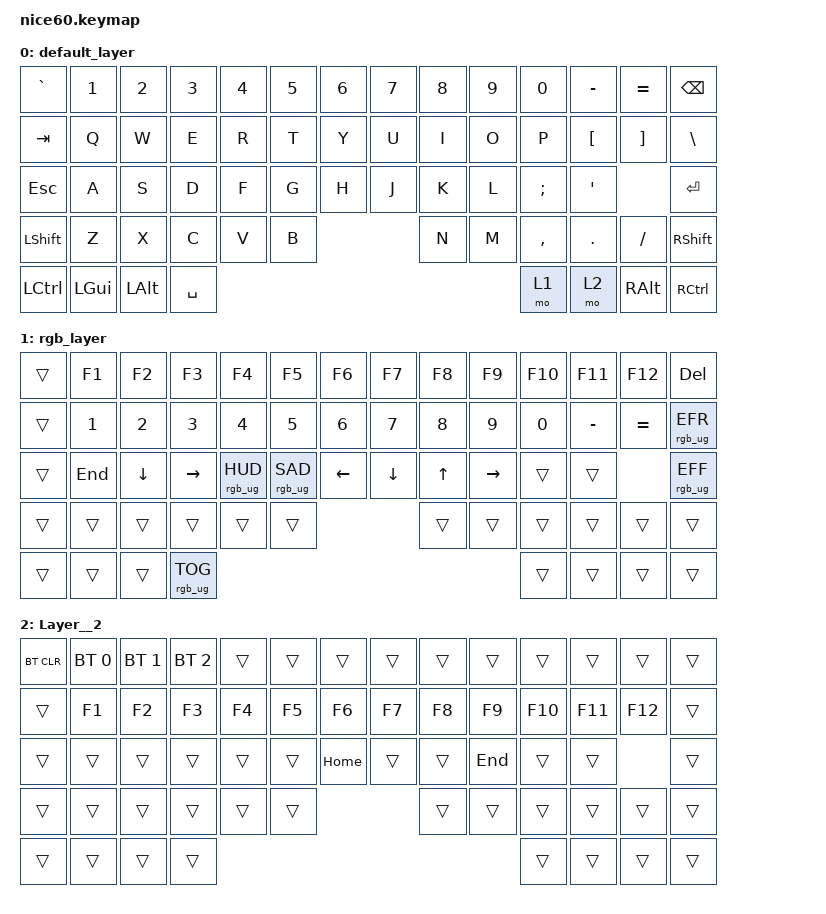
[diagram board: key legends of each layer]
/*
 * Copyright (c) 2021 Nick Winans
 *
 * SPDX-License-Identifier: MIT
 */

#include <behaviors.dtsi>
#include <dt-bindings/zmk/keys.h>
#include <dt-bindings/zmk/rgb.h>
#include <dt-bindings/zmk/bt.h>

/ {
    keymap {
        compatible = "zmk,keymap";

        default_layer {
            // ------------------------------------------------------------------------------------------
            // | ESC |  1  |  2  |  3  |  4  |  5  |  6  |  7  |  8  |  9  |  0  |  -  |  =  |   BKSP   |
            // | TAB  |  Q  |  W  |  E  |  R  |  T  |  Y  |  U  |  I  |  O  |  P  |  [  |  ]  |   "|"   |
            // | CAPS  |  A  |  S  |  D  |  F  |  G  |  H  |  J  |  K  |  L  |  ;  |  '  |     ENTER    |
            // |  SHIFT  |  Z  |  X  |  C  |  V  |  B  |  N  |  M  |  ,  |  .  |  /  |      SHIFT       |
            // |  CTL  |  WIN  |  ALT  |            SPACE              |  ALT  |  WIN  |  MO(1) |  CTL  |
            // ------------------------------------------------------------------------------------------

            bindings = <
  &kp GRAVE    &kp N1  &kp N2    &kp N3  &kp N4  &kp N5     &kp N6  &kp N7  &kp N8     &kp N9    &kp N0  &kp MINUS  &kp EQUAL           &kp BSPC
    &kp TAB     &kp Q   &kp W     &kp E   &kp R   &kp T      &kp Y   &kp U   &kp I      &kp O     &kp P   &kp LBKT   &kp RBKT           &kp BSLH
 &kp ESCAPE     &kp A   &kp S     &kp D   &kp F   &kp G      &kp H   &kp J   &kp K      &kp L  &kp SEMI    &kp SQT                       &kp RET
  &kp LSHFT             &kp Z     &kp X   &kp C   &kp V      &kp B   &kp N   &kp M  &kp COMMA   &kp DOT   &kp FSLH                     &kp RSHFT
  &kp LCTRL  &kp LGUI          &kp LALT                  &kp SPACE                                &mo 1      &mo 2   &kp RALT          &kp RCTRL
            >;
        };

        rgb_layer {
            // ------------------------------------------------------------------------------------------------
            // | BT CLR | F1  | F2  | F3  | F4  | F5  | F6  | F7  | F8  | F9  | F10  | F11 | F12 | EFFECT REV |
            // |  BT 1   |   |  UP |   | HUEUP | SATUP | BRIUP | SPDUP |   |     |    |     |     |           |
            // |   BT 2   | LT |  DN  | RT | HUEDN | SATDN | BRIDN | SPDDN |   |     |   |     |  EFFECT FORW |
            // |    BT 3     |     |      |      |     |     |     |     |     |     |     |                  |
            // |   BT 4  |      |      |             TOG RGB                | PRT SCR |       |       |  DEL  |
            // ------------------------------------------------------------------------------------------------

            bindings = <
 &trans        &kp F1    &kp F2        &kp F3           &kp F4           &kp F5           &kp F6          &kp F7        &kp F8           &kp F9       &kp F10    &kp F11    &kp F12               &kp DELETE
 &trans  &kp NUMBER_1    &kp N2  &kp NUMBER_3     &kp NUMBER_4     &kp NUMBER_5     &kp NUMBER_6    &kp NUMBER_7  &kp NUMBER_8     &kp NUMBER_9  &kp NUMBER_0  &kp MINUS  &kp EQUAL          &rgb_ug RGB_EFR
 &trans       &kp END  &kp DOWN     &kp RIGHT  &rgb_ug RGB_HUD  &rgb_ug RGB_SAD   &kp LEFT_ARROW  &kp DOWN_ARROW        &kp UP  &kp RIGHT_ARROW        &trans     &trans                     &rgb_ug RGB_EFF
 &trans                  &trans        &trans           &trans           &trans           &trans          &trans        &trans           &trans        &trans     &trans                              &trans
 &trans        &trans                  &trans                                    &rgb_ug RGB_TOG                                                       &trans     &trans     &trans                   &trans
            >;
        };

        Layer__2 {
            bindings = <
 &bt BT_CLR  &bt BT_SEL 0  &bt BT_SEL 1  &bt BT_SEL 2  &trans  &trans    &trans  &trans  &trans   &trans   &trans   &trans   &trans          &trans
     &trans        &kp F1        &kp F2        &kp F3  &kp F4  &kp F5    &kp F6  &kp F7  &kp F8   &kp F9  &kp F10  &kp F11  &kp F12          &trans
     &trans        &trans        &trans        &trans  &trans  &trans  &kp HOME  &trans  &trans  &kp END   &trans   &trans                   &trans
     &trans                      &trans        &trans  &trans  &trans    &trans  &trans  &trans   &trans   &trans   &trans                   &trans
     &trans        &trans                      &trans                    &trans                            &trans   &trans   &trans          &trans
            >;
        };
    };
};
